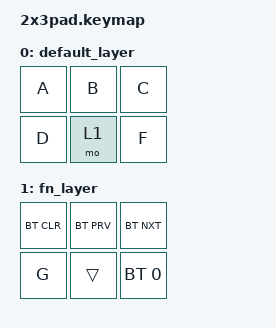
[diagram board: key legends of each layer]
/*
 * Copyright (c) 2025 The ZMK Contributors
 *
 * SPDX-License-Identifier: MIT
 */

#include <behaviors.dtsi>
#include <dt-bindings/zmk/keys.h>
#include <dt-bindings/zmk/bt.h>

/ {
    keymap {
        compatible = "zmk,keymap";


        default_layer {
            bindings = <
                &kp A     &kp B     &kp C
                &kp D     &mo 1     &kp F
            >;
        };

        fn_layer {
            bindings = <
                &bt BT_CLR    &bt BT_PRV    &bt BT_NXT
                &kp G         &trans         &bt BT_SEL 0
            >;
        };
    };
};
